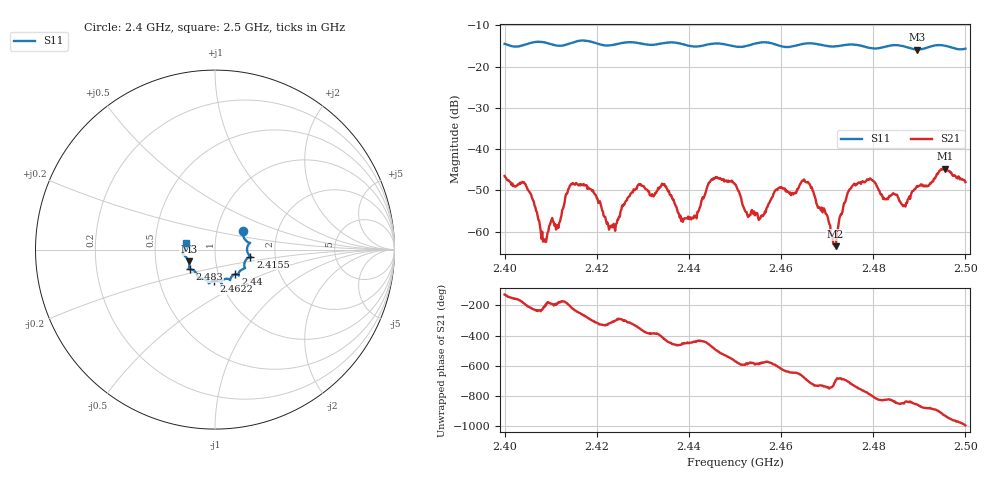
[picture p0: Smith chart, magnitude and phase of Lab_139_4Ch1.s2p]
# Hz S RI R 50
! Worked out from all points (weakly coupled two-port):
!   601 points, 2.4 GHz to 2.5 GHz, reference 50 ohm
!   highest |S21| = -44.76 dB at 2.4955 GHz (marker M1); lowest = -63.5 dB at 2.4718 GHz (marker M2)
!   lowest |S11| = -15.9 dB at 2.4895 GHz (marker M3), VSWR 1.38, Z = 36.9 - j5 ohm
!   |S11| at or under -10 dB: start of sweep to end of sweep
!   S12 and S22 are empty: the file has one direction only
!   S11 on the Smith chart (normalised r, x): 2.4 GHz: 1.33, +0.29; 2.4155 GHz: 1.49, -0.12; 2.44 GHz: 1.20, -0.34; 2.4622 GHz: 0.93, -0.33; 2.483 GHz: 0.74, -0.17; 2.5 GHz: 0.72, +0.06
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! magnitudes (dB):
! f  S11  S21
! 2.4 GHz  -14.5  -46.5
! 2.4047 GHz  -14.6  -48.9
! 2.4085 GHz  -14.1  -62.1
! 2.4155 GHz  -13.9  -48.2
! 2.4167 GHz  -13.7  -48.5
! 2.423 GHz  -14.9  -58.9
! 2.429 GHz  -14.3  -48.7
! 2.4333 GHz  -14.6  -49.4
! 2.44 GHz  -15.0  -57.0
! 2.4453 GHz  -14.4  -47.1
! 2.45 GHz  -15.1  -48.6
! 2.4555 GHz  -14.2  -56.8
! 2.4592 GHz  -14.8  -49.9
! 2.4622 GHz  -15.2  -51.2
! 2.4667 GHz  -14.4  -49.2
! 2.4718 GHz  -15.1  -63.5
! 2.4755 GHz  -14.7  -48.9
! 2.483 GHz  -15.1  -52.0
! 2.4833 GHz  -15.0  -51.8
! 2.4895 GHz  -15.9  -48.9
! 2.4955 GHz  -14.9  -44.8
! 2.5 GHz  -15.7  -48.0
